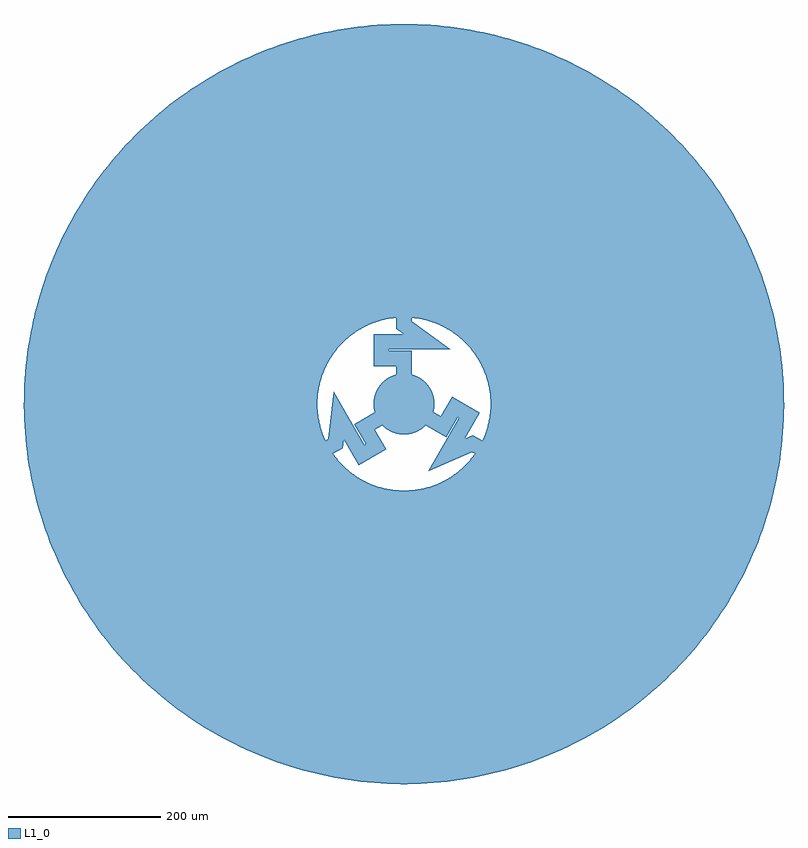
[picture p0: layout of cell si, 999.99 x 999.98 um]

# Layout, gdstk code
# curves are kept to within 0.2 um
import gdstk
lib = gdstk.Library(unit=1e-6, precision=1e-09)
def P(c, l, *ps):  # polygons
    for p in ps: c.add(gdstk.Polygon(p, *l))
L1_0 = (1, 0)

c_si = lib.new_cell('si')
P(c_si, L1_0, [(-0.35,-39.998),(-7.997,-39.193),(-12.061,-38.138),(-15.992,-36.664),(-22.712,-32.927),(-28.592,-27.973),(-33.416,-21.986),(-37.005,-15.186),(-39.227,-7.825),(-39.831,-3.67),(-39.997,0.525),(-39.157,8.168),(-38.085,12.227),(-36.594,16.152),(-32.827,22.855),(-27.848,28.714),(-24.685,31.475),(-21.25,33.889),(-14.373,37.329),(-6.965,39.389),(0.7,39.994),(4.888,39.7),(9.023,38.969),(16.312,36.523),(22.999,32.727),(28.836,27.722),(33.607,21.693),(37.137,14.862),(39.294,7.481),(40,-0.175),(39.227,-7.825),(38.191,-11.894),(36.734,-15.831),(33.026,-22.567),(28.098,-28.469),(22.132,-33.319),(15.348,-36.938),(7.997,-39.193),(3.844,-39.815)],
  [(-4.375,-499.981),(-30.609,-499.062),(-56.759,-496.768),(-82.752,-493.105),(-99.958,-489.907),(-125.531,-483.985),(-150.759,-476.73),(-175.57,-468.161),(-199.898,-458.302),(-215.815,-451.025),(-239.188,-439.078),(-261.902,-425.92),(-283.894,-411.588),(-305.103,-396.121),(-325.472,-379.563),(-344.944,-361.959),(-357.4,-349.665),(-375.258,-330.426),(-392.082,-310.277),(-407.826,-289.272),(-417.699,-274.822),(-431.547,-252.522),(-440.12,-237.265),(-451.965,-213.839),(-462.565,-189.825),(-471.89,-165.287),(-479.914,-140.294),(-486.616,-114.914),(-491.976,-89.217),(-494.797,-71.945),(-497.891,-45.878),(-499.612,-19.685),(-499.957,6.563),(-498.923,32.793),(-496.515,58.932),(-492.738,84.908),(-489.464,102.1),(-486.812,114),(0,114),(-7.974,113.721),(-13.932,113.146),(-21.812,111.894),(-27.654,110.595),(-35.323,108.39),(-40.963,106.386),(-46.489,104.09),(-53.657,100.583),(-58.862,97.628),(-65.547,93.272),(-70.351,89.703),(-76.454,84.563),(-80.786,80.434),(-86.215,74.586),(-91.221,68.372),(-94.683,63.49),(-98.893,56.712),(-101.733,51.444),(-105.082,44.201),(-107.257,38.626),(-109.696,31.028),(-111.173,25.228),(-112.666,17.39),(-113.423,11.453),(-113.947,3.491),(-113.973,-2.494),(-113.685,-8.472),(-112.814,-16.403),(-111.39,-24.255),(-109.963,-30.067),(-108.234,-35.797),(-105.465,-43.28),(-102.179,-50.551),(-99.385,-55.844),(-96.317,-60.983),(-91.816,-67.571),(-88.143,-72.297),(-82.87,-78.285),(-78.647,-82.527),(-72.682,-87.826),(-66.36,-92.695),(-61.404,-96.05),(-54.535,-100.11),(-49.206,-102.834),(-41.892,-106.024),(-36.27,-108.076),(-28.621,-110.349),(-22.79,-111.699),(-16.897,-112.741),(-8.969,-113.647),(-0.998,-113.996),(4.986,-113.891),(12.941,-113.263),(18.867,-112.428),(26.686,-110.833),(32.465,-109.279),(40.03,-106.741),(45.577,-104.493),(50.998,-101.957),(58.005,-98.14),(64.728,-93.842),(69.564,-90.316),(75.711,-85.228),(80.079,-81.137),(85.559,-75.337),(89.395,-70.743),(94.124,-64.317),(98.393,-57.575),(101.279,-52.332),(104.691,-45.119),(106.915,-39.563),(109.42,-31.987),(111.39,-24.255),(112.509,-18.375),(113.319,-12.445),(113.912,-4.488),(113.947,3.491),(113.423,11.453),(112.666,17.39),(111.173,25.228),(109.696,31.028),(107.257,38.626),(105.082,44.201),(101.733,51.444),(97.885,58.434),(93.558,65.138),(88.772,71.523),(84.896,76.083),(80.786,80.434),(74.962,85.888),(68.771,90.921),(62.242,95.509),(55.409,99.629),(50.104,102.399),(44.661,104.888),(37.214,107.755),(29.586,110.094),(19.85,112.258),(9.963,113.564),(1.995,113.983),(-486.812,114),(-481.124,136.089),(-476.066,152.843),(-470.426,169.41),(-460.886,193.865),(-450.077,217.786),(-442.179,233.404),(-429.321,256.289),(-420.088,271.156),(-405.279,292.83),(-394.782,306.834),(-378.135,327.13),(-366.455,340.163),(-354.326,352.779),(-341.763,364.963),(-328.781,376.7),(-308.558,393.436),(-294.6,403.994),(-272.992,418.898),(-250.631,432.648),(-235.337,441.154),(-211.86,452.897),(-195.88,460.034),(-179.66,466.607),(-163.221,472.609),(-146.581,478.031),(-129.762,482.868),(-112.783,487.114),(-87.063,492.362),(-69.779,495.107),(-43.699,498.087),(-17.498,499.694),(0,500),(17.498,499.694),(43.699,498.087),(69.779,495.107),(95.667,490.763),(121.291,485.065),(146.581,478.031),(171.467,469.68),(195.88,460.034),(211.86,452.897),(235.337,441.154),(258.165,428.195),(280.281,414.056),(294.6,403.994),(315.396,387.976),(335.323,370.888),(354.326,352.779),(372.352,333.697),(389.352,313.696),(405.279,292.83),(415.278,278.467),(429.321,256.289),(442.179,233.404),(453.819,209.876),(464.209,185.77),(473.318,161.151),(481.124,136.089),(487.603,110.651),(491.176,93.519),(495.408,67.612),(498.273,41.519),(499.421,24.056),(499.995,-2.188),(499.191,-28.425),(497.012,-54.584),(494.797,-71.945),(490.339,-97.813),(486.616,-114.914),(479.914,-140.294),(471.89,-165.287),(462.565,-189.825),(451.965,-213.839),(440.12,-237.265),(427.061,-260.036),(412.826,-282.09),(402.701,-296.365),(386.592,-317.091),(369.418,-336.943),(351.225,-355.866),(332.065,-373.809),(311.989,-390.721),(291.054,-406.556),(269.316,-421.271),(254.408,-430.438),(231.467,-443.196),(207.888,-454.733),(183.737,-465.017),(159.079,-474.019),(142.392,-479.296),(117.042,-486.108),(91.369,-491.581),(65.444,-495.699),(39.339,-498.45),(13.125,-499.828)])
c_si.add(gdstk.FlexPath([(0,0),(0,60),(-30,60),(-30,82),(30,82),(30,82),(0,104),(0,114)], 20, ends="flush", simple_path=True, layer=1, datatype=0))  # L1_0
c_si.add(gdstk.FlexPath([(0,0),(-51.962,-30),(-36.962,-55.981),(-56.014,-66.981),(-86.014,-15.019),(-86.014,-15.019),(-90.067,-52),(-98.727,-57)], 20, ends="flush", simple_path=True, layer=1, datatype=0))  # L1_0
c_si.add(gdstk.FlexPath([(0,0),(51.962,-30),(66.962,-4.019),(86.014,-15.019),(56.014,-66.981),(56.014,-66.981),(90.067,-52),(98.727,-57)], 20, ends="flush", simple_path=True, layer=1, datatype=0))  # L1_0

lib.write_gds('si.gds')
